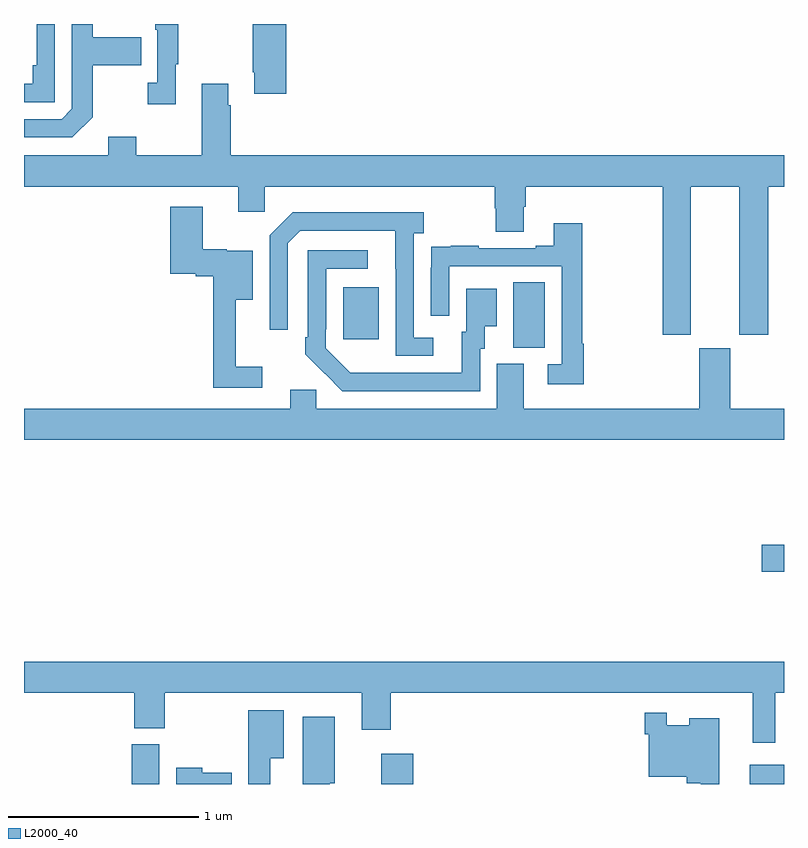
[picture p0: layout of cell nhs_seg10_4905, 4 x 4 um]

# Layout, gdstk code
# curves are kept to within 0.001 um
import gdstk
lib = gdstk.Library(unit=1e-6, precision=1e-09)
def R(c, l, rs):  # rectangles x0, y0, x1, y1
    for r in rs: c.add(gdstk.rectangle(r[:2], r[2:], *l))
def P(c, l, *ps):  # polygons
    for p in ps: c.add(gdstk.Polygon(p, *l))
L2000_40 = (2000, 40)

nhs_seg10_4905 = lib.new_cell('nhs_seg10_4905')
R(nhs_seg10_4905, L2000_40, [(393.566,1302.5,393.712,1302.708), (394.88,1302.5,395.048,1302.658), (396.821,1302.5,397,1302.601), (396.882,1303.618,397,1303.76), (395.576,1304.797,395.74,1305.14), (394.679,1304.841,394.867,1305.115)])
P(nhs_seg10_4905, L2000_40, [(393.361,1306.009),(393.361,1306.282),(393.617,1306.282),(393.617,1306.429),(393.361,1306.429),(393.361,1306.5),(393.252,1306.5),(393.252,1306.053),(393.198,1305.999),(393,1305.999),(393,1305.903),(393.255,1305.903)],
  [(393.162,1306.5),(393.066,1306.5),(393.066,1306.282),(393.046,1306.282),(393.046,1306.185),(393,1306.185),(393,1306.089),(393.162,1306.089)],
  [(394.379,1306.5),(394.204,1306.5),(394.204,1306.246),(394.211,1306.246),(394.211,1306.134),(394.379,1306.134)],
  [(393.799,1306.289),(393.811,1306.289),(393.811,1306.5),(393.69,1306.5),(393.69,1306.469),(393.702,1306.469),(393.702,1306.19),(393.651,1306.19),(393.651,1306.077),(393.799,1306.077)],
  [(396.508,1305.644),(396.764,1305.644),(396.764,1304.865),(396.917,1304.865),(396.917,1305.644),(397,1305.644),(397,1305.808),(394.088,1305.808),(394.088,1306.073),(394.075,1306.073),(394.075,1306.186),(393.935,1306.186),(393.935,1305.808),(393.591,1305.808),(393.591,1305.907),(393.443,1305.907),(393.443,1305.808),(393,1305.808),(393,1305.644),(394.127,1305.644),(394.127,1305.513),(394.266,1305.513),(394.266,1305.644),(395.477,1305.644),(395.477,1305.531),(395.482,1305.531),(395.482,1305.406),(395.629,1305.406),(395.629,1305.538),(395.642,1305.538),(395.642,1305.644),(396.361,1305.644),(396.361,1304.865),(396.508,1304.865)],
  [(394.255,1304.695),(394.115,1304.695),(394.115,1305.05),(394.204,1305.05),(394.204,1305.307),(394.068,1305.307),(394.068,1305.315),(393.94,1305.315),(393.94,1305.538),(393.77,1305.538),(393.77,1305.185),(393.903,1305.185),(393.903,1305.173),(393.997,1305.173),(393.997,1304.586),(394.255,1304.586)],
  [(395.155,1304.85),(395.052,1304.85),(395.052,1305.398),(395.104,1305.398),(395.104,1305.508),(394.414,1305.508),(394.293,1305.387),(394.293,1304.892),(394.389,1304.892),(394.389,1305.345),(394.455,1305.411),(394.955,1305.411),(394.956,1304.754),(395.155,1304.754)],
  [(395.945,1304.816),(395.938,1304.816),(395.938,1305.451),(395.789,1305.451),(395.789,1305.334),(395.693,1305.334),(395.693,1305.321),(395.393,1305.321),(395.393,1305.334),(395.245,1305.334),(395.245,1305.327),(395.143,1305.327),(395.143,1305.218),(395.142,1305.218),(395.142,1304.964),(395.238,1304.964),(395.238,1305.225),(395.829,1305.225),(395.829,1304.709),(395.757,1304.709),(395.757,1304.604),(395.945,1304.604)],
  [(395.4,1304.79),(395.425,1304.79),(395.425,1304.909),(395.488,1304.909),(395.488,1305.106),(395.327,1305.106),(395.327,1304.88),(395.303,1304.88),(395.303,1304.664),(394.716,1304.665),(394.587,1304.793),(394.587,1304.893),(394.59,1304.893),(394.59,1305.213),(394.81,1305.213),(394.81,1305.309),(394.494,1305.309),(394.494,1304.851),(394.479,1304.851),(394.479,1304.763),(394.676,1304.568),(395.4,1304.568)],
  [(397,1304.476),(396.718,1304.476),(396.718,1304.793),(396.554,1304.793),(396.554,1304.476),(395.629,1304.476),(395.629,1304.712),(395.489,1304.712),(395.489,1304.476),(394.539,1304.476),(394.539,1304.574),(394.4,1304.574),(394.4,1304.476),(393,1304.476),(393,1304.312),(397,1304.312)],
  [(396.953,1302.98),(397,1302.98),(397,1303.144),(393,1303.144),(393,1302.98),(393.581,1302.98),(393.581,1302.793),(393.741,1302.793),(393.741,1302.98),(394.778,1302.98),(394.778,1302.786),(394.931,1302.786),(394.931,1302.98),(396.836,1302.98),(396.836,1302.717),(396.953,1302.717)],
  [(394.297,1302.635),(394.366,1302.635),(394.366,1302.889),(394.181,1302.889),(394.181,1302.5),(394.297,1302.5)],
  [(396.658,1302.847),(396.5,1302.847),(396.5,1302.808),(396.384,1302.808),(396.384,1302.874),(396.268,1302.874),(396.268,1302.761),(396.288,1302.761),(396.288,1302.539),(396.488,1302.539),(396.488,1302.503),(396.561,1302.503),(396.561,1302.5),(396.658,1302.5)],
  [(394.609,1302.504),(394.636,1302.504),(394.636,1302.853),(394.466,1302.853),(394.466,1302.5),(394.609,1302.5)],
  [(394.093,1302.559),(393.939,1302.559),(393.939,1302.586),(393.8,1302.586),(393.8,1302.5),(394.093,1302.5)])

lib.write_gds('nhs_seg10_4905.gds')
